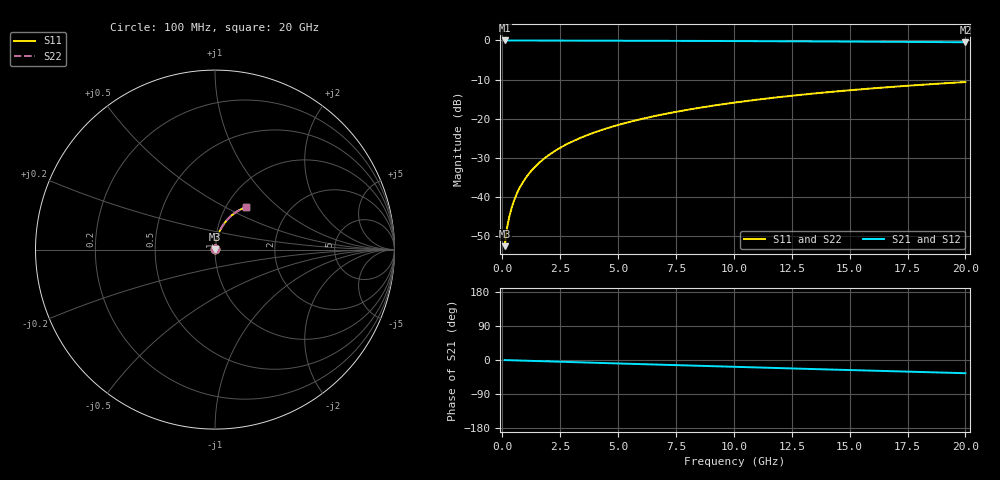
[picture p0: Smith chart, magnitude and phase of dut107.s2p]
! Touchstone file exported from HFSS 2026.1.0
!  File:  C:/ffzhzh/LocalFiles/Ansys_Project_Files/temp_train_BSMRDL_107_1782985783_40604.aedt
!  Generated:  05:51:04 PM Jul  2, 2026
!  Design:  BSMRDL
!  Project:  temp_train_BSMRDL_107_1782985783_40604
! Variables:
!  h_bsmrdl = 5.1um
!  h_ox = 20um
!  h_rdl = 5um
!  h_sub = 80um
!  h_tmrdl = 5um
!  h_tsv = 80um
!  h_via = 3um
!  l_bsmrdl = 509.67um
!  l_sub = 909.67um
!  l_tmrdl = 200um
!  m_sub = 200um
!  pitch = 56.42um
!  r_tsv = 6um
!  s_tmrdl = 10um
!  w_bsmrdl = 28.94um
!  w_sub = 500um
!  w_tmrdl = 12um
!  x_tsv_center1 = 206um
!  x_tsv_center2 = 744.61um
!  x_tsv_center3 = 956.61um
!  x_tsv_center4 = 1495.22um
!  x_tsv_center5 = 1707.22um
!  x_tsv_center6 = 2245.83um
# GHz S MA R 50.000000
! Terminal data exported
! Port[1] = BSM_RDL1_1_T1
! Port[2] = BSM_RDL1_1_T2
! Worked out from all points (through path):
!   200 points, 100 MHz to 20 GHz, reference 50 ohm
!   highest |S21| = -0.01 dB at 100 MHz (marker M1); lowest = -0.5 dB at 20 GHz (marker M2)
!   group delay of S21, straight-line fit = 4.84 ps
!   lowest |S11| = -52.5 dB at 100 MHz (marker M3), VSWR 1.00, Z = 50.1 + j0.189 ohm
!   |S11| at or under -10 dB: start of sweep to end of sweep
!   |S22| runs from -52.5 to -10.6 dB; largest |S21 - S12| = 2.3e-15
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0.1  0.00237 52.6  0.9986 -0.2  0.9986 -0.2  0.00237 52.6
! Gamma 0 0 0 0
! Port Impedance 50 0 50 0
0.2  0.003967 66.4  0.9984 -0.4  0.9984 -0.4  0.003967 66.4
0.3  0.005599 72.3  0.9983 -0.6  0.9983 -0.6  0.005599 72.3
0.4  0.007251 75.7  0.9983 -0.8  0.9983 -0.8  0.007251 75.7
0.5  0.008919 77.8  0.9982 -0.9  0.9982 -0.9  0.008919 77.8
0.7  0.01229 80.2  0.9981 -1.3  0.9981 -1.3  0.01229 80.2
0.8  0.01398 81.0  0.9981 -1.5  0.9981 -1.5  0.01398 81.0
1  0.01738 81.8  0.9979 -1.9  0.9979 -1.9  0.01738 81.8
1.2  0.02077 82.3  0.9978 -2.2  0.9978 -2.2  0.02077 82.3
1.4  0.02416 82.5  0.9976 -2.6  0.9976 -2.6  0.02416 82.5
1.7  0.02924 82.5  0.9974 -3.1  0.9974 -3.1  0.02924 82.5
2  0.03429 82.3  0.997 -3.7  0.997 -3.7  0.03429 82.3
2.7  0.04596 81.6  0.9962 -5.0  0.9962 -5.0  0.04596 81.6
3.5  0.05913 80.4  0.995 -6.4  0.995 -6.4  0.05913 80.4
4.2  0.0705 79.3  0.9939 -7.7  0.9939 -7.7  0.0705 79.3
5  0.08334 78.1  0.9925 -9.1  0.9925 -9.1  0.08334 78.1
6.8  0.1117 75.2  0.9889 -12.3  0.9889 -12.3  0.1117 75.2
8.3  0.1348 72.7  0.9855 -15.0  0.9855 -15.0  0.1348 72.7
10.1  0.1619 69.8  0.9809 -18.1  0.9809 -18.1  0.1619 69.8
13.4  0.2094 64.3  0.9711 -23.8  0.9711 -23.8  0.2094 64.3
16.7  0.2537 59.0  0.96 -29.4  0.96 -29.4  0.2537 58.9
20  0.2945 53.7  0.9479 -34.9  0.9479 -34.9  0.2945 53.7
